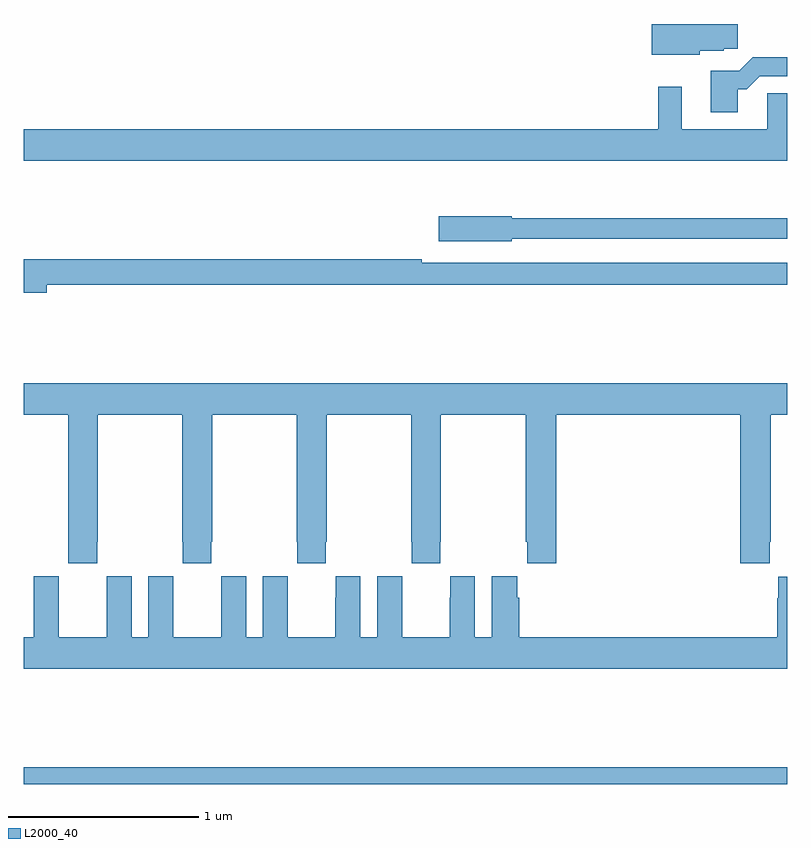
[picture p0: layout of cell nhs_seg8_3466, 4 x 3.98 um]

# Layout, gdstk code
import gdstk
lib = gdstk.Library(unit=1e-6, precision=1e-09)
def R(c, l, rs):  # rectangles x0, y0, x1, y1
    for r in rs: c.add(gdstk.rectangle(r[:2], r[2:], *l))
def P(c, l, *ps):  # polygons
    for p in ps: c.add(gdstk.Polygon(p, *l))
L2000_40 = (2000, 40)

nhs_seg8_3466 = lib.new_cell('nhs_seg8_3466')
R(nhs_seg8_3466, L2000_40, [(325,1111.9,329,1111.988)])
P(nhs_seg8_3466, L2000_40, [(328.542,1115.744),(328.668,1115.744),(328.668,1115.755),(328.741,1115.755),(328.741,1115.884),(328.292,1115.884),(328.292,1115.723),(328.542,1115.723)],
  [(328.741,1115.543),(328.79,1115.543),(328.857,1115.61),(329,1115.61),(329,1115.711),(328.82,1115.711),(328.749,1115.64),(328.601,1115.64),(328.601,1115.421),(328.741,1115.421)],
  [(329,1115.522),(328.896,1115.522),(328.896,1115.332),(328.447,1115.332),(328.447,1115.554),(328.326,1115.554),(328.326,1115.332),(325,1115.332),(325,1115.168),(329,1115.168)],
  [(327.558,1114.758),(329,1114.758),(329,1114.867),(327.558,1114.867),(327.558,1114.875),(327.174,1114.875),(327.174,1114.745),(327.558,1114.745)],
  [(325.12,1114.516),(329,1114.516),(329,1114.632),(327.086,1114.632),(327.086,1114.652),(325,1114.652),(325,1114.474),(325.12,1114.474)],
  [(325.383,1113.169),(325.386,1113.169),(325.386,1113.836),(325.831,1113.836),(325.831,1113.169),(325.833,1113.169),(325.833,1113.057),(325.983,1113.057),(325.983,1113.169),(325.986,1113.169),(325.986,1113.836),(326.431,1113.836),(326.431,1113.169),(326.433,1113.169),(326.433,1113.057),(326.583,1113.057),(326.583,1113.169),(326.586,1113.169),(326.586,1113.836),(327.031,1113.836),(327.031,1113.169),(327.033,1113.169),(327.033,1113.057),(327.183,1113.057),(327.183,1113.169),(327.186,1113.169),(327.186,1113.836),(327.631,1113.836),(327.631,1113.169),(327.637,1113.169),(327.637,1113.057),(327.791,1113.057),(327.791,1113.836),(328.754,1113.836),(328.754,1113.057),(328.909,1113.057),(328.909,1113.169),(328.914,1113.169),(328.914,1113.836),(329,1113.836),(329,1114),(325,1114),(325,1113.836),(325.231,1113.836),(325.231,1113.169),(325.233,1113.169),(325.233,1113.057),(325.383,1113.057)],
  [(329,1112.986),(328.955,1112.986),(328.955,1112.873),(328.949,1112.873),(328.949,1112.668),(327.596,1112.668),(327.596,1112.876),(327.586,1112.876),(327.586,1112.989),(327.452,1112.989),(327.452,1112.668),(327.364,1112.668),(327.364,1112.989),(327.234,1112.989),(327.234,1112.876),(327.233,1112.876),(327.233,1112.668),(326.983,1112.668),(326.983,1112.876),(326.982,1112.876),(326.982,1112.989),(326.852,1112.989),(326.852,1112.668),(326.764,1112.668),(326.764,1112.989),(326.634,1112.989),(326.634,1112.876),(326.633,1112.876),(326.633,1112.668),(326.383,1112.668),(326.383,1112.876),(326.382,1112.876),(326.382,1112.989),(326.252,1112.989),(326.252,1112.668),(326.164,1112.668),(326.164,1112.989),(326.034,1112.989),(326.034,1112.876),(326.033,1112.876),(326.033,1112.668),(325.783,1112.668),(325.783,1112.876),(325.782,1112.876),(325.782,1112.989),(325.652,1112.989),(325.652,1112.668),(325.564,1112.668),(325.564,1112.989),(325.434,1112.989),(325.434,1112.876),(325.433,1112.876),(325.433,1112.668),(325.183,1112.668),(325.183,1112.876),(325.182,1112.876),(325.182,1112.989),(325.052,1112.989),(325.052,1112.668),(325,1112.668),(325,1112.504),(329,1112.504)])

lib.write_gds('nhs_seg8_3466.gds')
